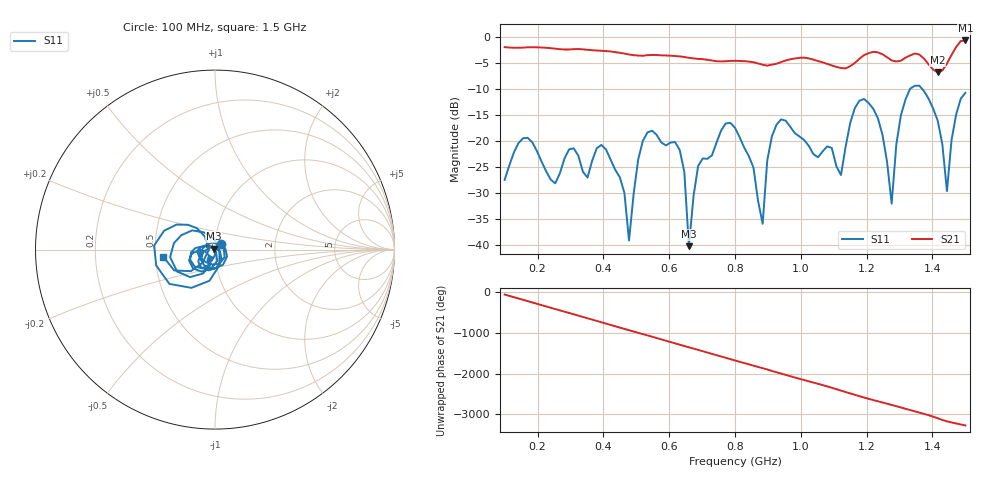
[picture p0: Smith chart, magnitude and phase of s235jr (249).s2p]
! NanoVNA-App
! Date: 2025-09-25 15:06:06
! Start: 100MHz Stop: 1,5GHz Points: 101
! S-Parameter data: F S11 S21 S12 S22
# Hz S RI R 50
!  Frequency  S11_Real  S11_Imag  S21_Real  S21_Imag  S12_Real  S12_Imag  S22_Real  S22_Imag
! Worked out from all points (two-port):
!   101 points, 100 MHz to 1.5 GHz, reference 50 ohm
!   highest |S21| = -0.68 dB at 1.5 GHz (marker M1); lowest = -6.8 dB at 1.416 GHz (marker M2)
!   |S21| within 3 dB of the highest: start of sweep to 620.5 MHz; 1.188 GHz to 1.256 GHz (67.98 MHz wide, 5.56 % of centre) (the widest 2 of 4)
!   lowest |S11| = -40.2 dB at 660 MHz (marker M3), VSWR 1.02, Z = 49.2 + j0.602 ohm
!   |S11| at or under -10 dB: start of sweep to 1.332 GHz; 1.369 GHz to end of sweep
!   S12 and S22 are empty: the file has one direction only
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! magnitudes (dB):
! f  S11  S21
! 100 MHz  -27.5  -2.0
! 156 MHz  -19.5  -2.1
! 338 MHz  -25.9  -2.4
! 408 MHz  -21.6  -2.7
! 478 MHz  -39.1  -3.4
! 520 MHz  -20.0  -3.6
! 576 MHz  -20.3  -3.5
! 632 MHz  -21.7  -3.7
! 660 MHz  -40.2  -4.0
! 688 MHz  -24.8  -4.2
! 800 MHz  -17.5  -4.6
! 884 MHz  -35.9  -5.4
! 926 MHz  -16.9  -5.2
! 1.038 GHz  -22.5  -4.4
! 1.122 GHz  -26.5  -6.0
! 1.192 GHz  -11.9  -3.5
! 1.248 GHz  -18.8  -3.3
! 1.276 GHz  -32.1  -4.5
! 1.332 GHz  -10.0  -3.6
! 1.416 GHz  -16.1  -6.8
! 1.444 GHz  -29.6  -5.1
! 1.5 GHz  -10.7  -0.7
